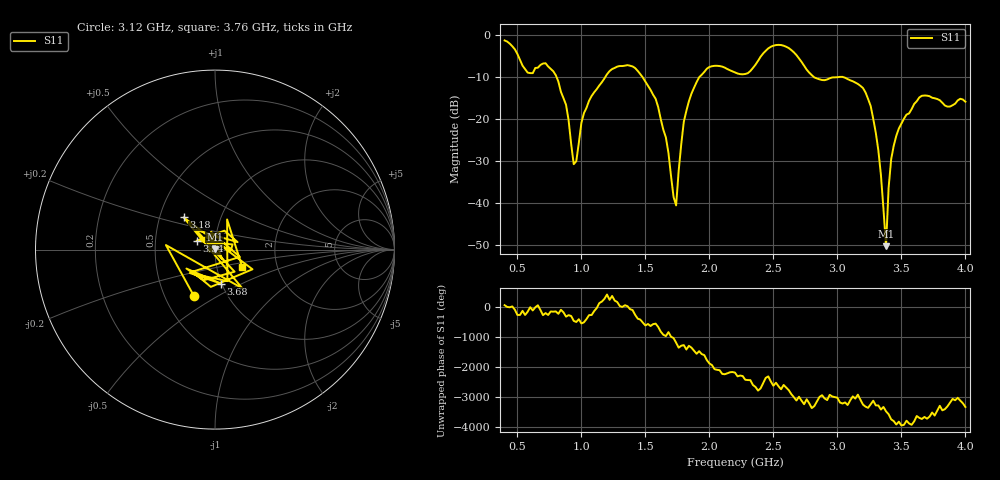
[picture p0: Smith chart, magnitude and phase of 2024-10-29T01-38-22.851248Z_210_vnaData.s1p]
!Created with skrf (http://scikit-rf.org).
# Hz S RI R 50.0
!freq ReS11 ImS11
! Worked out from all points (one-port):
!   181 points, 400 MHz to 4 GHz, reference 50 ohm
!   lowest |S11| = -50.2 dB at 3.38 GHz (marker M1), VSWR 1.01, Z = 49.9 + j0.295 ohm
!   |S11| at or under -10 dB: 806.8 MHz to 1.185 GHz (378.1 MHz wide, 38 % of centre); 1.479 GHz to 1.919 GHz (440.3 MHz wide, 25.9 % of centre); 3.052 GHz to end of sweep (the widest 3 of 4)
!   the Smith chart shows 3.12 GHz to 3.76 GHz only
!   S11 on the Smith chart (normalised r, x): 3.12 GHz: 0.70, -0.40; 3.18 GHz: 0.66, +0.25; 3.54 GHz: 0.81, +0.08; 3.68 GHz: 0.99, -0.39; 3.76 GHz: 1.33, -0.26
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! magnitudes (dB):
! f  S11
! 400 MHz  -1.2
! 580 MHz  -8.9
! 720 MHz  -6.6
! 860 MHz  -15.0
! 940 MHz  -30.7
! 1.06 GHz  -15.5
! 1.3 GHz  -7.3
! 1.58 GHz  -15.1
! 1.66 GHz  -24.3
! 1.74 GHz  -40.5
! 1.76 GHz  -32.2
! 1.8 GHz  -20.6
! 1.92 GHz  -10.0
! 2.2 GHz  -8.8
! 2.66 GHz  -4.0
! 2.82 GHz  -10.0
! 3.1 GHz  -10.7
! 3.12 GHz  -10.9
! 3.18 GHz  -12.0
! 3.3 GHz  -23.2
! 3.38 GHz  -50.2
! 3.4 GHz  -36.3
! 3.42 GHz  -29.5
! 3.54 GHz  -18.9
! 3.56 GHz  -18.6
! 3.68 GHz  -14.3
! 3.76 GHz  -15.0
! 4 GHz  -15.8
